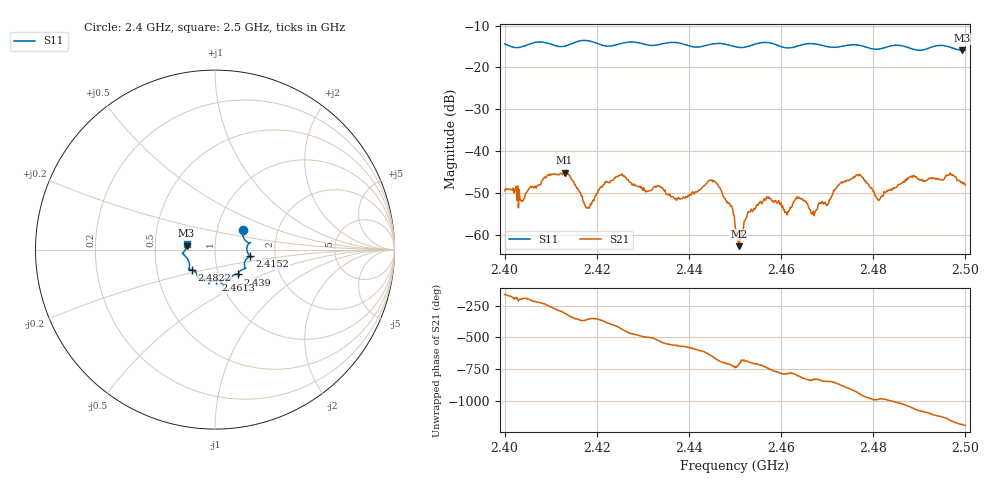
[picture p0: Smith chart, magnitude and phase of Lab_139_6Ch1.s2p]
# Hz S RI R 50
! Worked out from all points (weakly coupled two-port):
!   601 points, 2.4 GHz to 2.5 GHz, reference 50 ohm
!   highest |S21| = -45.17 dB at 2.413 GHz (marker M1); lowest = -62.7 dB at 2.4508 GHz (marker M2)
!   lowest |S11| = -15.9 dB at 2.4993 GHz (marker M3), VSWR 1.38, Z = 36.3 + j1.63 ohm
!   |S11| at or under -10 dB: start of sweep to end of sweep
!   S12 and S22 are empty: the file has one direction only
!   S11 on the Smith chart (normalised r, x): 2.4 GHz: 1.33, +0.31; 2.4152 GHz: 1.48, -0.11; 2.439 GHz: 1.24, -0.35; 2.4613 GHz: 0.96, -0.34; 2.4822 GHz: 0.76, -0.17; 2.5 GHz: 0.73, +0.05
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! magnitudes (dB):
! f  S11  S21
! 2.4 GHz  -14.4  -49.5
! 2.4038 GHz  -15.0  -51.9
! 2.413 GHz  -14.9  -45.2
! 2.4152 GHz  -14.1  -47.9
! 2.4167 GHz  -13.6  -50.8
! 2.4182 GHz  -13.6  -53.4
! 2.4252 GHz  -14.3  -45.8
! 2.4333 GHz  -14.6  -48.4
! 2.439 GHz  -14.5  -51.1
! 2.4453 GHz  -14.4  -47.0
! 2.45 GHz  -15.0  -57.7
! 2.4508 GHz  -15.2  -62.7
! 2.4568 GHz  -14.0  -50.9
! 2.4613 GHz  -15.3  -55.3
! 2.464 GHz  -14.7  -51.1
! 2.4667 GHz  -14.3  -55.0
! 2.4767 GHz  -14.7  -45.8
! 2.4822 GHz  -15.4  -50.8
! 2.4833 GHz  -15.0  -49.3
! 2.4883 GHz  -15.5  -46.0
! 2.4993 GHz  -15.9  -47.4
! 2.5 GHz  -15.8  -48.1
